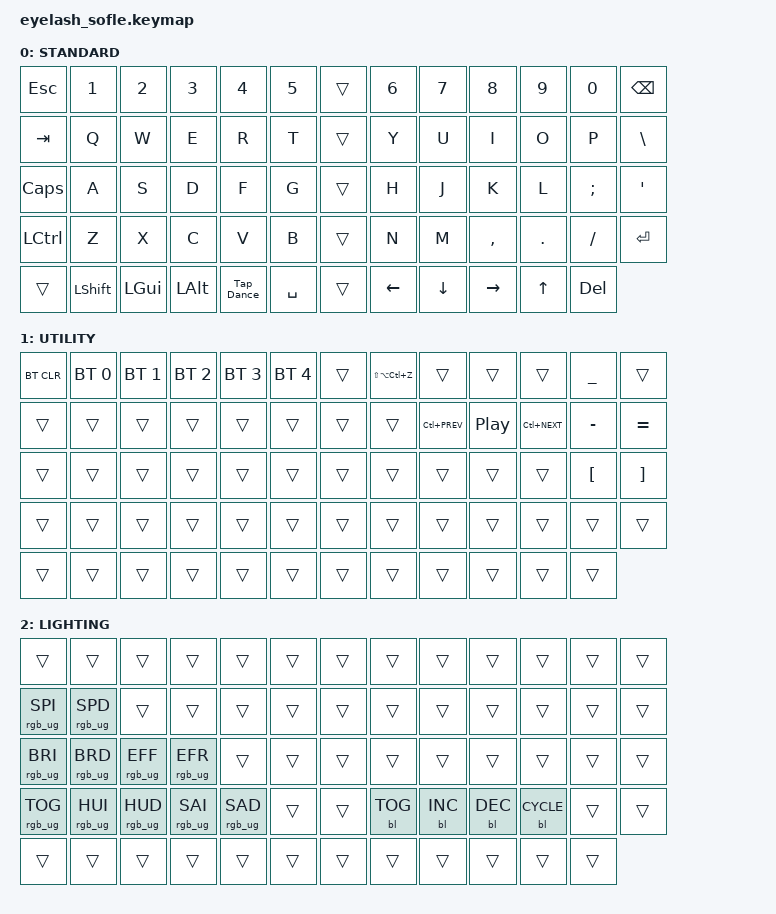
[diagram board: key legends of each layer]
#define ZMK_POINTING_DEFAULT_MOVE_VAL 1200  // 600
#define ZMK_POINTING_DEFAULT_SCRL_VAL 25   // 10

#include <input/processors.dtsi>
#include <zephyr/dt-bindings/input/input-event-codes.h>
#include <behaviors.dtsi>
#include <dt-bindings/zmk/backlight.h>
#include <dt-bindings/zmk/bt.h>
#include <dt-bindings/zmk/keys.h>
#include <dt-bindings/zmk/rgb.h>

// Layer IDs

#define STANDARD 0
#define UTILITY 1
#define LIGHTING 2

&mmv_input_listener { input-processors = <&zip_xy_scaler 2 1>; };

&msc_input_listener { input-processors = <&zip_scroll_scaler 2 1>; };

&msc {
    acceleration-exponent = <1>;      // 0
    time-to-max-speed-ms = <100>;     // 300
    delay-ms = <0>;                   // 0
};

&mmv {
    time-to-max-speed-ms = <500>;
    acceleration-exponent = <1>;
    trigger-period-ms = <16>;
};

&soft_off { hold-time-ms = <2000>; };

/ {
    behaviors {
        Tap_Dance: Tap_Dance {
            compatible = "zmk,behavior-tap-dance";
            label = "TAP_DANCE";
            #binding-cells = <0>;
            bindings = <&mo 1>, <&mo 2>;

            tapping-term-ms = <200>;
        };
    };

    combos {
        compatible = "zmk,combos";

        Shutdown {
            bindings = <&kp C_POWER>;
            key-positions = <12 63>;
            layers = <1>;
        };

        soft-off {
            bindings = <&soft_off>;
            key-positions = <61 59>;
            layers = <1>;
        };
    };

    macros {
        snap_win: snapshot_win {
            compatible = "zmk,behavior-macro";
            #binding-cells = <0>;
            bindings =
                <&macro_press>,
                <&kp LEFT_WIN &kp LEFT_SHIFT>,
                <&macro_tap>,
                <&kp S>,
                <&macro_release>,
                <&kp LEFT_COMMAND &kp LEFT_SHIFT>;

            label = "SNAPSHOT_WIN";
        };

        snap_mac_clip: snapshot_mac_clip {
            compatible = "zmk,behavior-macro";
            #binding-cells = <0>;
            bindings =
                <&macro_press>,
                <&kp LEFT_COMMAND &kp LEFT_CONTROL &kp LEFT_SHIFT>,
                <&macro_tap>,
                <&kp NUMBER_4>,
                <&macro_release>,
                <&kp LEFT_COMMAND &kp LEFT_CONTROL &kp LEFT_SHIFT>;

            label = "SNAPSHOT_MAC_CLIP";
        };

        snap_mac_file: snapshot_mac_file {
            compatible = "zmk,behavior-macro";
            #binding-cells = <0>;
            bindings =
                <&macro_press>,
                <&kp LEFT_COMMAND &kp LEFT_SHIFT>,
                <&macro_tap>,
                <&kp NUMBER_4>,
                <&macro_release>,
                <&kp LEFT_COMMAND &kp LEFT_SHIFT>;

            label = "SNAPSHOT_MAC_FILE";
        };
    };

    // Bottom left key is the encoder click
    // Column 7 (middle column) is the joystick from the right half

    keymap {
        compatible = "zmk,keymap";

        STANDARD {
            bindings = <
&kp ESC    &kp N1          &kp N2    &kp N3    &kp N4      &kp N5       &trans  &kp N6    &kp N7    &kp N8     &kp N9        &kp N0    &kp BSPC
&kp TAB    &kp Q           &kp W     &kp E     &kp R       &kp T        &trans  &kp Y     &kp U     &kp I      &kp O         &kp P     &kp BSLH
&kp CAPS   &kp A           &kp S     &kp D     &kp F       &kp G        &trans  &kp H     &kp J     &kp K      &kp L         &kp SEMI  &kp APOS
&kp LCTRL  &kp Z           &kp X     &kp C     &kp V       &kp B        &trans  &kp N     &kp M     &kp COMMA  &kp DOT       &kp FSLH  &kp ENTER
&trans     &kp LEFT_SHIFT  &kp LGUI  &kp LALT  &Tap_Dance  &kp SPACE    &trans  &kp LEFT  &kp DOWN  &kp RIGHT  &kp UP_ARROW  &kp DEL
            >;

            display-name = "STANDARD";
        };

        UTILITY {
            bindings = <
&bt BT_CLR  &bt BT_SEL 0  &bt BT_SEL 1  &bt BT_SEL 2  &bt BT_SEL 3  &bt BT_SEL 4    &trans  &kp LS(LA(LC(Z)))  &trans          &trans            &trans          &kp UNDER  &trans
&trans      &trans        &trans        &trans        &trans        &trans          &trans  &trans             &kp LC(C_PREV)  &kp C_PLAY_PAUSE  &kp LC(C_NEXT)  &kp MINUS  &kp EQUAL
&trans      &trans        &trans        &trans        &trans        &trans          &trans  &trans             &trans          &trans            &trans          &kp LBKT   &kp RBKT
&trans      &trans        &trans        &trans        &trans        &trans          &trans  &trans             &trans          &trans            &trans          &trans     &trans
&trans      &trans        &trans        &trans        &trans        &trans          &trans  &trans             &trans          &trans            &trans          &trans
            >;

            display-name = "UTILITY";
        };

        LIGHTING {
            bindings = <
&trans           &trans           &trans           &trans           &trans           &trans    &trans  &trans      &trans      &trans      &trans        &trans  &trans
&rgb_ug RGB_SPI  &rgb_ug RGB_SPD  &trans           &trans           &trans           &trans    &trans  &trans      &trans      &trans      &trans        &trans  &trans
&rgb_ug RGB_BRI  &rgb_ug RGB_BRD  &rgb_ug RGB_EFF  &rgb_ug RGB_EFR  &trans           &trans    &trans  &trans      &trans      &trans      &trans        &trans  &trans
&rgb_ug RGB_TOG  &rgb_ug RGB_HUI  &rgb_ug RGB_HUD  &rgb_ug RGB_SAI  &rgb_ug RGB_SAD  &trans    &trans  &bl BL_TOG  &bl BL_INC  &bl BL_DEC  &bl BL_CYCLE  &trans  &trans
&trans           &trans           &trans           &trans           &trans           &trans    &trans  &trans      &trans      &trans      &trans        &trans
            >;

            display-name = "LIGHTING";
        };
    };
};
